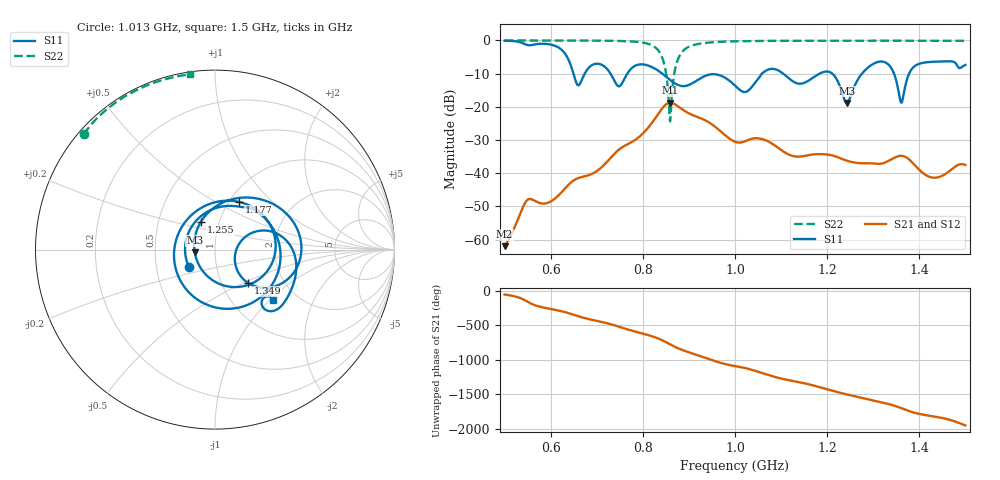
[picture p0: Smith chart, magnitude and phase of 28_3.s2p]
! TOUCHSTONE file generated by CST MICROWAVE STUDIO
! Date and time: Fri Dec 11 14:15:37 2020
! Project name: Scenario_1_Planar_Body_Tissue_Out_of_Line_v2.cst
! Parameters = {dy1=121.1; L_HA=400; Ltissue=700; MT=2.54; Rad_Dielectric=30; Rad_Lower=7.3; Rad_Upper=30; Wtissue=700; a_HA=580; a_WG=246; b_HA=500; b_WG=121; c_HA=0; c_WG=187; d_feed=85; dx1=520; h_feed=15; h_lower=18; h_upper=40; hfat=3; hgap=25; hmuscle=50; hskin=1.5}
! Header version: 2018
! Port assignment regex: !\s*Touchstone port\s*([0-9]+)\s*=\s*(CST MWS port|CST DS port)\s*([0-9]+|Zmin|Zmax)\s*\(\"(.*)\"\)(\s*mode\s*([0-9]+))?.*
! Touchstone port assignment:
! Touchstone port 1 = CST MWS port 1 ("")
! Touchstone port 2 = CST MWS port 2 ("")
# GHz S DB R 50
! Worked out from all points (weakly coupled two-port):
!   1003 points, 500 MHz to 1.5 GHz, reference 50 ohm
!   highest |S21| = -18.78 dB at 859 MHz (marker M1); lowest = -62.0 dB at 500 MHz (marker M2)
!   lowest |S11| = -18.9 dB at 1.243 GHz (marker M3), VSWR 1.26, Z = 39.8 - j1.24 ohm
!   |S11| at or under -10 dB: 842 MHz to 1.058 GHz (216.4 MHz wide, 22.8 % of centre); 1.104 GHz to 1.184 GHz (79.08 MHz wide, 6.91 % of centre); 1.211 GHz to 1.276 GHz (64.47 MHz wide, 5.19 % of centre)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
!   |S22| runs from -24.4 to 0.0 dB; largest |S21 - S12| = 1.4e-05
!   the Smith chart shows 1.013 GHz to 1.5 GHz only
!   S11 on the Smith chart (normalised r, x): 1.013 GHz: 0.73, -0.15; 1.177 GHz: 1.11, +0.65; 1.255 GHz: 0.82, +0.26; 1.349 GHz: 1.33, -0.53; 1.5 GHz: 1.51, -1.04
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0.5  -0.08 -122.0  -62.00 -54.0  -61.99 -54.0  -0.01 151.2
0.549  -1.38 -145.9  -48.11 -155.0  -48.11 -155.0  -0.01 147.9
0.63  -3.77 147.5  -44.77 53.3  -44.77 53.3  -0.03 141.7
0.667  -12.05 174.1  -41.18 -23.2  -41.18 -23.2  -0.04 138.4
0.717  -7.88 106.5  -37.35 -100.9  -37.35 -100.9  -0.09 132.8
0.742  -13.10 11.7  -33.63 -147.5  -33.63 -147.5  -0.14 129.0
0.787  -7.41 166.0  -29.62 122.4  -29.62 122.4  -0.43 118.3
0.834  -9.19 48.4  -22.03 26.2  -22.03 26.2  -3.09 85.4
0.859  -11.89 -21.7  -18.78 -56.9  -18.78 -56.9  -24.40 -44.2
0.889  -13.77 -122.6  -21.11 -146.5  -21.11 -146.5  -2.91 178.3
0.935  -10.70 82.8  -24.04 107.8  -24.04 107.8  -0.77 153.2
1  -13.61 -100.1  -30.53 -12.3  -30.53 -12.3  -0.25 140.5
1.013  -15.16 -146.1  -30.74 -27.5  -30.74 -27.5  -0.22 138.7
1.073  -8.73 -3.7  -30.50 -143.3  -30.50 -143.3  -0.14 132.3
1.102  -9.74 -87.0  -33.19 164.1  -33.19 164.1  -0.12 129.6
1.167  -11.44 86.4  -34.40 72.5  -34.40 72.4  -0.10 124.3
1.177  -10.52 63.2  -34.27 54.5  -34.27 54.5  -0.10 123.5
1.243  -18.88 -172.3  -36.25 -63.7  -36.25 -63.7  -0.09 118.5
1.255  -15.24 117.3  -36.68 -81.9  -36.68 -81.9  -0.09 117.6
1.334  -7.39 -24.7  -36.22 156.5  -36.22 156.5  -0.08 111.6
1.349  -11.64 -45.2  -35.16 126.7  -35.16 126.7  -0.09 110.4
1.5  -7.39 -41.2  -37.53 -153.1  -37.53 -153.1  -0.13 98.0
